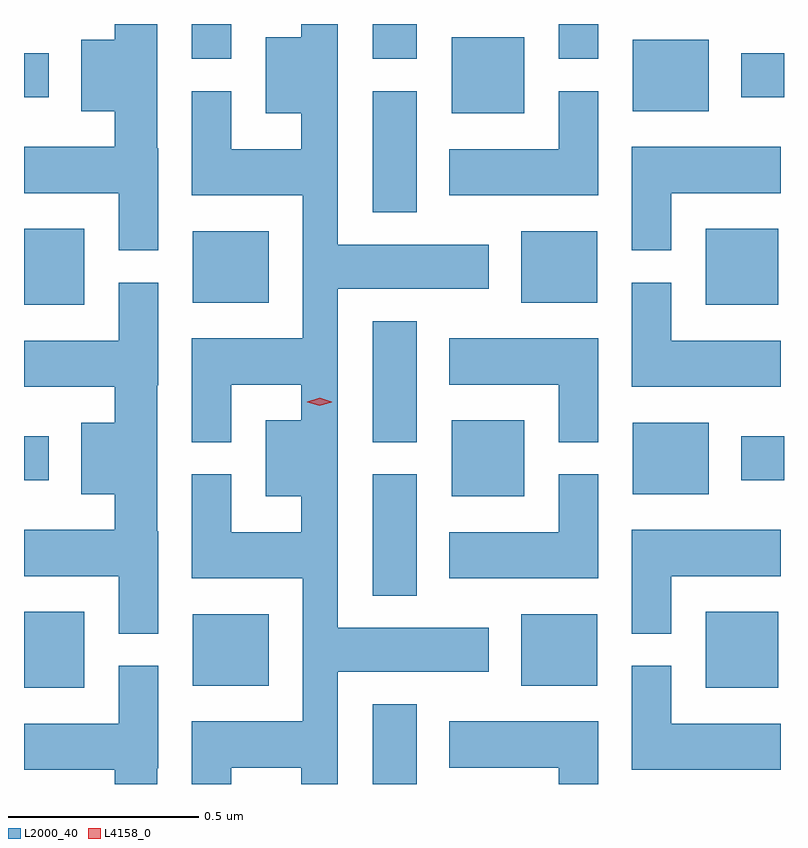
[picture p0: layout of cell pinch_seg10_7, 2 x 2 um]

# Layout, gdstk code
import gdstk
lib = gdstk.Library(unit=1e-6, precision=1e-09)
def R(c, l, rs):  # rectangles x0, y0, x1, y1
    for r in rs: c.add(gdstk.rectangle(r[:2], r[2:], *l))
def P(c, l, *ps):  # polygons
    for p in ps: c.add(gdstk.Polygon(p, *l))
L2000_40 = (2000, 40)
L4158_0 = (4158, 0)

pinch_seg10_7 = lib.new_cell('pinch_seg10_7')
R(pinch_seg10_7, L2000_40, [(1073.024,1292.581,1073.14,1292.791), (1072.106,1292.834,1072.264,1293.034), (1073.9,1292.834,1074.091,1293.034), (1072.55,1292.84,1072.75,1293.028), (1073.414,1292.84,1073.614,1293.028), (1073.024,1293.077,1073.14,1293.396), (1073.231,1293.338,1073.422,1293.538), (1073.708,1293.344,1073.908,1293.532), (1072.106,1293.38,1072.171,1293.496), (1073.993,1293.38,1074.106,1293.496), (1073.024,1293.481,1073.14,1293.799), (1072.106,1293.842,1072.264,1294.042), (1073.9,1293.842,1074.091,1294.042), (1072.55,1293.848,1072.75,1294.036), (1073.414,1293.848,1073.614,1294.036), (1073.024,1294.085,1073.14,1294.404), (1073.231,1294.346,1073.422,1294.546), (1073.708,1294.352,1073.908,1294.54), (1072.106,1294.388,1072.171,1294.504), (1073.993,1294.388,1074.106,1294.504), (1072.547,1294.489,1072.651,1294.581), (1073.024,1294.489,1073.14,1294.581), (1073.513,1294.489,1073.617,1294.581)])
P(pinch_seg10_7, L2000_40, [(1072.651,1292.624),(1072.836,1292.624),(1072.836,1292.581),(1072.931,1292.581),(1072.931,1292.876),(1073.329,1292.876),(1073.329,1292.992),(1072.931,1292.992),(1072.931,1293.884),(1073.329,1293.884),(1073.329,1294),(1072.931,1294),(1072.931,1294.581),(1072.836,1294.581),(1072.836,1294.546),(1072.742,1294.546),(1072.742,1294.346),(1072.836,1294.346),(1072.836,1294.252),(1072.651,1294.252),(1072.651,1294.404),(1072.547,1294.404),(1072.547,1294.13),(1072.84,1294.13),(1072.84,1293.754),(1072.547,1293.754),(1072.547,1293.481),(1072.651,1293.481),(1072.651,1293.632),(1072.836,1293.632),(1072.836,1293.538),(1072.742,1293.538),(1072.742,1293.338),(1072.836,1293.338),(1072.836,1293.244),(1072.651,1293.244),(1072.651,1293.396),(1072.547,1293.396),(1072.547,1293.122),(1072.84,1293.122),(1072.84,1292.746),(1072.547,1292.746),(1072.547,1292.581),(1072.651,1292.581)],
  [(1072.459,1294.254),(1072.456,1294.254),(1072.456,1294.581),(1072.345,1294.581),(1072.345,1294.54),(1072.256,1294.54),(1072.256,1294.352),(1072.345,1294.352),(1072.345,1294.258),(1072.106,1294.258),(1072.106,1294.136),(1072.355,1294.136),(1072.355,1293.985),(1072.459,1293.985)],
  [(1073.617,1294.404),(1073.513,1294.404),(1073.513,1294.252),(1073.225,1294.252),(1073.225,1294.13),(1073.617,1294.13)],
  [(1073.809,1294.136),(1074.097,1294.136),(1074.097,1294.258),(1073.705,1294.258),(1073.705,1293.985),(1073.809,1293.985)],
  [(1074.097,1293.748),(1073.809,1293.748),(1073.809,1293.9),(1073.705,1293.9),(1073.705,1293.626),(1074.097,1293.626)],
  [(1072.459,1293.246),(1072.456,1293.246),(1072.456,1293.63),(1072.459,1293.63),(1072.459,1293.9),(1072.355,1293.9),(1072.355,1293.748),(1072.106,1293.748),(1072.106,1293.626),(1072.345,1293.626),(1072.345,1293.532),(1072.256,1293.532),(1072.256,1293.344),(1072.345,1293.344),(1072.345,1293.25),(1072.106,1293.25),(1072.106,1293.128),(1072.355,1293.128),(1072.355,1292.977),(1072.459,1292.977)],
  [(1073.617,1293.754),(1073.225,1293.754),(1073.225,1293.632),(1073.513,1293.632),(1073.513,1293.481),(1073.617,1293.481)],
  [(1073.617,1293.396),(1073.513,1293.396),(1073.513,1293.244),(1073.225,1293.244),(1073.225,1293.122),(1073.617,1293.122)],
  [(1073.809,1293.128),(1074.097,1293.128),(1074.097,1293.25),(1073.705,1293.25),(1073.705,1292.977),(1073.809,1292.977)],
  [(1074.097,1292.74),(1073.809,1292.74),(1073.809,1292.892),(1073.705,1292.892),(1073.705,1292.618),(1074.097,1292.618)],
  [(1072.456,1292.622),(1072.459,1292.622),(1072.459,1292.892),(1072.355,1292.892),(1072.355,1292.74),(1072.106,1292.74),(1072.106,1292.618),(1072.345,1292.618),(1072.345,1292.581),(1072.456,1292.581)],
  [(1073.617,1292.746),(1073.225,1292.746),(1073.225,1292.624),(1073.513,1292.624),(1073.513,1292.581),(1073.617,1292.581)])
P(pinch_seg10_7, L4158_0, [(1072.884,1293.577),(1072.851,1293.586),(1072.851,1293.587),(1072.851,1293.587),(1072.884,1293.597),(1072.916,1293.587),(1072.916,1293.587),(1072.916,1293.586)])

lib.write_gds('pinch_seg10_7.gds')
